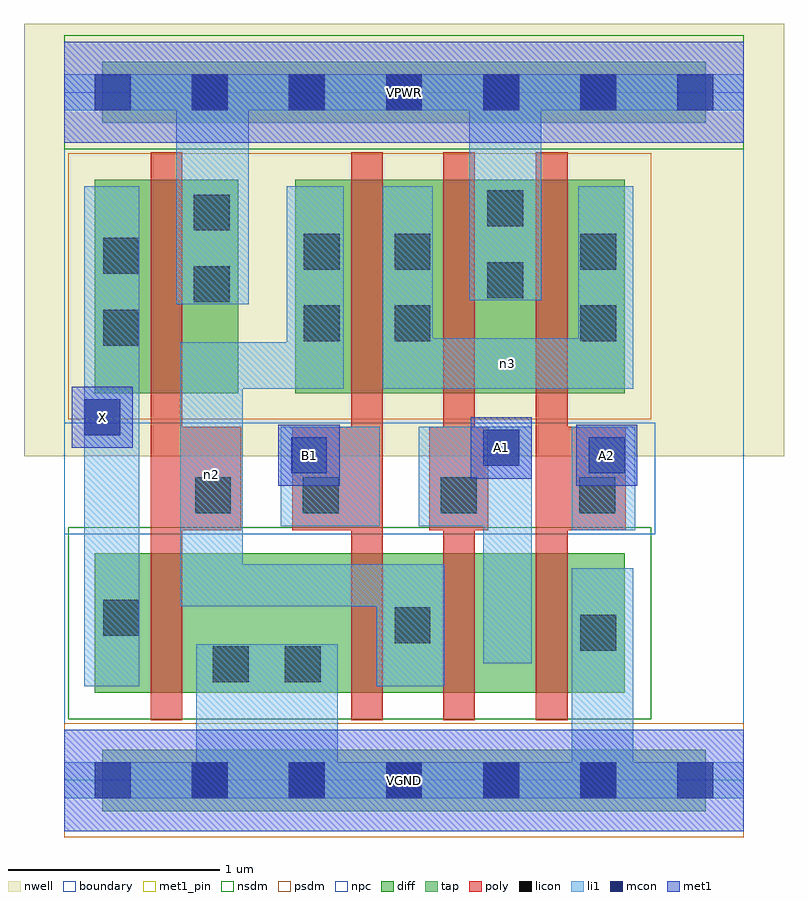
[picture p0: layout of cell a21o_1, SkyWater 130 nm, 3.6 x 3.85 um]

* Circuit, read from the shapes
.subckt a21o_1 A1 A2 B1 VGND VPWR X n2 n3
XM1 VGND n2 X VGND sky130_fd_pr__nfet_01v8 w=0.66 l=0.15
XM2 n2 B1 VGND VGND sky130_fd_pr__nfet_01v8 w=0.66 l=0.15
XM3 n1 A1 n2 VGND sky130_fd_pr__nfet_01v8 w=0.66 l=0.15
XM4 VGND A2 n1 VGND sky130_fd_pr__nfet_01v8 w=0.66 l=0.15
XM5 VPWR n2 X VPWR sky130_fd_pr__pfet_01v8 w=1.01 l=0.15
XM6 n3 B1 n2 VPWR sky130_fd_pr__pfet_01v8 w=1.01 l=0.15
XM7 VPWR A1 n3 VPWR sky130_fd_pr__pfet_01v8 w=1.01 l=0.15
XM8 n3 A2 VPWR VPWR sky130_fd_pr__pfet_01v8 w=1.01 l=0.15
.ends

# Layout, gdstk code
import gdstk
lib = gdstk.Library(unit=1e-6, precision=1e-09)
def R(c, l, rs):  # rectangles x0, y0, x1, y1
    for r in rs: c.add(gdstk.rectangle(r[:2], r[2:], *l))
def A(c, l, x, y, w, h, nx, ny, dx, dy):  # array of equal rectangles
    R(c, l, [(x+i*dx, y+j*dy, x+i*dx+w, y+j*dy+h) for i in range(nx) for j in range(ny)])
nwell = (64, 20)
diff = (65, 20)
tap = (65, 44)
poly = (66, 20)
licon = (66, 44)
li1 = (67, 20)
mcon = (67, 44)
met1_pin = (68, 16)
met1 = (68, 20)
nsdm = (93, 44)
psdm = (94, 20)
npc = (95, 20)
boundary = (235, 4)

a21o_1 = lib.new_cell('a21o_1')
R(a21o_1, nwell, [(-0.19,1.535,3.41,3.585), (0,1.535,3.22,3.585)])
R(a21o_1, diff, [(0.145,0.415,2.655,1.075), (0.145,1.835,0.825,2.845), (1.095,1.835,2.655,2.845)])
R(a21o_1, tap, [(0.18,-0.145,3.04,0.145), (0.18,3.115,3.04,3.405)])
R(a21o_1, poly, [(0.41,0.285,0.56,2.975), (1.36,0.285,1.51,2.975), (1.795,0.285,1.945,2.975), (2.235,0.285,2.385,2.975), (0.41,1.185,0.84,1.675), (1.08,1.185,1.51,1.675), (1.73,1.185,2.01,1.675), (2.235,1.185,2.66,1.675)])
A(a21o_1, licon, 0.605, -0.085, 0.17, 0.17, 5, 2, 0.46, 3.26)
A(a21o_1, licon, 1.13, 1.265, 0.17, 0.17, 3, 1, 0.655, 0)
R(a21o_1, licon, [(0.705,0.465,0.875,0.635), (1.045,0.465,1.215,0.635), (2.445,0.615,2.615,0.785), (1.565,0.65,1.735,0.82), (0.185,0.685,0.355,0.855), (0.62,1.265,0.79,1.435), (0.185,2.06,0.355,2.23), (1.135,2.08,1.305,2.25), (1.565,2.08,1.735,2.25), (2.445,2.08,2.615,2.25), (0.615,2.265,0.785,2.435), (2.005,2.285,2.175,2.455), (0.185,2.4,0.355,2.57), (1.135,2.42,1.305,2.59), (1.565,2.42,1.735,2.59), (2.445,2.42,2.615,2.59), (0.615,2.605,0.785,2.775), (2.005,2.625,2.175,2.795)])
R(a21o_1, li1, [(0,-0.085,3.22,0.085), (0.625,-0.085,1.295,0.645), (2.405,-0.085,2.695,1.005), (0.095,0.445,0.355,2.815), (1.48,0.445,1.8,1.025), (1.985,0.555,2.215,1.675), (0.55,0.825,0.845,2.075), (0.55,0.825,1.8,1.025), (2.405,1.185,2.705,1.675), (1.025,1.205,1.495,1.675), (1.68,1.205,2.215,1.675), (0.55,1.855,1.325,2.075), (1.055,1.855,1.325,2.815), (1.51,1.855,2.695,2.095), (1.51,1.855,1.745,2.815), (2.435,1.855,2.695,2.815), (0.53,2.255,0.875,3.345), (1.92,2.275,2.26,3.345), (0,3.175,3.22,3.345)])
A(a21o_1, mcon, 0.145, -0.085, 0.17, 0.17, 7, 2, 0.46, 3.26)
R(a21o_1, mcon, [(1.075,1.455,1.245,1.625), (2.485,1.455,2.655,1.625), (1.985,1.49,2.155,1.66), (0.095,1.635,0.265,1.805)])
R(a21o_1, met1_pin, [(0,-0.24,3.22,0.24), (1.015,1.395,1.305,1.685), (2.425,1.395,2.715,1.685), (1.925,1.43,2.215,1.72), (0.035,1.575,0.325,1.865), (0,3.02,3.22,3.5)])
R(a21o_1, met1, [(0,-0.24,3.22,0.24), (1.015,1.395,1.305,1.685), (2.425,1.395,2.715,1.685), (1.925,1.43,2.215,1.72), (0.035,1.575,0.325,1.865), (0,3.02,3.22,3.5)])
R(a21o_1, nsdm, [(0.02,0.29,2.78,1.2), (0,2.99,3.22,3.53)])
R(a21o_1, psdm, [(0,-0.27,3.22,0.27), (0.02,1.71,2.78,2.97)])
R(a21o_1, npc, [(0,1.165,2.8,1.695)])
R(a21o_1, boundary, [(0,0,3.22,3.26)])
a21o_1.add(gdstk.Label('n2', (0.697,1.45), layer=67, texttype=5))
a21o_1.add(gdstk.Label('n3', (2.102,1.975), layer=67, texttype=5))
a21o_1.add(gdstk.Label('A1', (2.07,1.575), layer=68, texttype=5))
a21o_1.add(gdstk.Label('A2', (2.57,1.54), layer=68, texttype=5))
a21o_1.add(gdstk.Label('B1', (1.16,1.54), layer=68, texttype=5))
a21o_1.add(gdstk.Label('X', (0.18,1.72), layer=68, texttype=5))
a21o_1.add(gdstk.Label('VPWR', (1.61,3.26), layer=68, texttype=5))
a21o_1.add(gdstk.Label('VGND', (1.61,0), layer=68, texttype=5))
a21o_1.add(gdstk.Label('A1', (2.07,1.575), layer=68, texttype=16))
a21o_1.add(gdstk.Label('A2', (2.57,1.54), layer=68, texttype=16))
a21o_1.add(gdstk.Label('B1', (1.16,1.54), layer=68, texttype=16))
a21o_1.add(gdstk.Label('X', (0.18,1.72), layer=68, texttype=16))
a21o_1.add(gdstk.Label('VPWR', (1.61,3.26), layer=68, texttype=16))
a21o_1.add(gdstk.Label('VGND', (1.61,0), layer=68, texttype=16))

lib.write_gds('a21o_1.gds')
